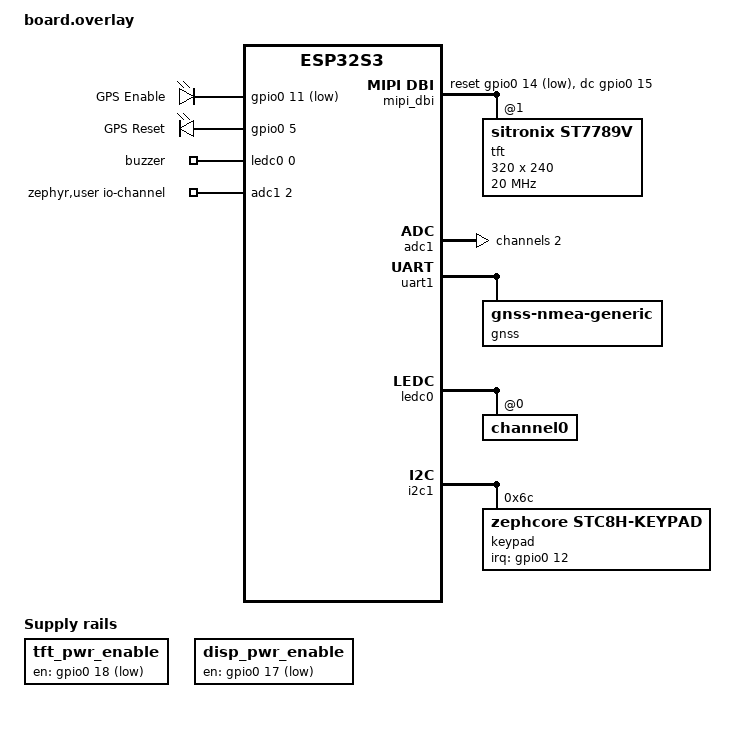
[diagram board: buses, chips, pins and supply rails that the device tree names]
/*
 * SPDX-License-Identifier: MIT
 * Elecrow ThinkNode M9 — ZephCore overlay
 *
 * Adds the display stack, GPS driver, buzzer, battery ADC, RTC and
 * filesystem on top of the base board DTS (which already carries the
 * LR1110 radio — kept there so tools/lr1110_updater works without this
 * overlay). Pin mapping from Arduino MeshCore variants/thinknode_m9.
 *
 * Display SPI2: CS=16 (cs-gpios[1]), DC=15, RST=14, BL=17 (active-LOW)
 * Panel power:  VEXT=18 (active-LOW)
 * GPS UART1:    RX=2, TX=3 @ 115200; EN=11 (active-LOW), RESET=5
 * Buzzer:       GPIO9 (LEDC ch0)
 * Battery ADC:  GPIO13 = ADC unit 2 ch 2 (&adc1), 2:1 divider (matches
 *               MeshCore ESP32Board's hardcoded 2x)
 *
 * Not ported (unused by Arduino MeshCore): STC8H I2C keyboard @0x6C (bus
 * SDA=20 SCL=21, INT=12, LED=46), SD card (CS=48 — parked HIGH by a hog in
 * the base DTS), ext-power detect GPIO1 (active-LOW) + charge-DONE GPIO8,
 * GPS PPS (4), GPS STANDBY (10), QMI8658 IMU + QMC6309 magnetometer on the
 * sensor bus.
 */

#include <zephyr/dt-bindings/pwm/pwm.h>

/ {
	aliases {
		pwm-0 = &ledc0;
		buzzer = &buzzer;
		gps-enable = &gps_enable_pin;
		gps-reset = &gps_reset_pin;
	};

	chosen {
		zephyr,display = &mono_tft;
	};

	/*
	 * VDD_PERIPH rail — GPIO18 (VEXT_ENABLE), active-LOW.
	 * The V1.0 schematic shows this is NOT display-only: VDD_PERIPH_EN
	 * gates a rail feeding the panel (DISPLAY_VDD), the RTC's main supply
	 * (button cell only backs up timekeeping) and the I2C sensors —
	 * `regulator-boot-on` powers it at driver init, before the RTC
	 * autodiscover and sensor scan run, matching Arduino's unconditional
	 * board.begin() write. display.c still treats it as the panel supply
	 * (never disables it); the label stays tft_pwr_enable for that hookup.
	 */
	tft_pwr_enable: tft-pwr-enable {
		compatible = "regulator-fixed";
		regulator-name = "tft-pwr-enable";
		enable-gpios = <&gpio0 18 GPIO_ACTIVE_LOW>;
		regulator-boot-on;
	};

	/*
	 * TFT backlight — GPIO17 (TFT_LEDA_CTL), active-LOW.
	 * Named disp_pwr_enable so display.c auto-gates it with display on/off.
	 * (Arduino dims it with 44 kHz PWM; fixed on/off is the first pass.)
	 */
	disp_pwr_enable: disp-pwr-enable {
		compatible = "regulator-fixed";
		regulator-name = "disp-pwr-enable";
		enable-gpios = <&gpio0 17 GPIO_ACTIVE_LOW>;
	};

	/*
	 * Monochrome wrapper around the ST7789.
	 * Reports PIXEL_FORMAT_MONO01 to CFB (~9.6 KB framebuffer instead of
	 * ~150 KB RGB565) and converts each row on flush.
	 */
	mono_tft: mono-tft {
		compatible = "zephcore,mono-tft";
		tft-dev = <&tft>;
		width = <320>;
		height = <240>;
	};

	/*
	 * MIPI-DBI SPI wrapper for the ST7789 — rides the shared SPI2 bus.
	 * The child's reg (1) picks cs-gpios[1] (GPIO16) declared in the base DTS.
	 * DC=GPIO15, RST=GPIO14 (active-LOW). Write-only (MISO belongs to LR1110).
	 */
	mipi_dbi {
		compatible = "zephyr,mipi-dbi-spi";
		spi-dev = <&spi2>;
		dc-gpios = <&gpio0 15 GPIO_ACTIVE_HIGH>;
		reset-gpios = <&gpio0 14 GPIO_ACTIVE_LOW>;
		write-only;
		#address-cells = <1>;
		#size-cells = <0>;

		tft: st7789v@1 {
			compatible = "sitronix,st7789v";
			mipi-max-frequency = <20000000>;
			reg = <1>;
			width = <320>;
			height = <240>;
			x-offset = <0>;
			y-offset = <0>;
			/* MADCTL=0xA0: MY|MV, RGB order (landscape 320x240 on the
			 * native-portrait 240x320 panel). This is what Arduino ends
			 * up with: landscapeScreen() sets 0x60 (MX|MV), then
			 * DISPLAY_FLIP_VERTICALLY=1 calls flipScreenVertically()
			 * which overwrites MADCTL with MV|MY = 0xA0 (ST7789Spi.h).
			 * If mirrored/upside-down at bring-up, try 0x60.
			 * Panel inversion (INVON): Arduino sends it, and the Zephyr
			 * st7789v driver defaults to inversion ON (no `inversion-off`
			 * prop here) — matched. */
			mdac = <0xA0>;
			colmod = <0x55>;
			vcom = <0x20>;
			gctrl = <0x35>;
			vrhs = <0x0b>;
			vdvs = <0x20>;
			gamma = <0x01>;
			lcm = <0x2c>;
			porch-param = [0c 0c 00 33 33];
			cmd2en-param = [5a 69 02 01];
			pwctrl1-param = [a4 a1];
			pvgam-param = [70 2c 2e 15 10 09 48 33 53 0b 19 18 20 25];
			nvgam-param = [70 2c 2e 15 10 09 48 33 53 0b 19 18 20 25];
			ram-param = [00 f0];
			rgb-param = [40 02 14];
			mipi-mode = "MIPI_DBI_MODE_SPI_4WIRE";
		};
	};

	/* GPS power enable — GPIO11, active-LOW (PIN_GPS_EN_ACTIVE=LOW).
	 * ZephCore's GPS manager drives this via the gps-enable alias. */
	gps_en: gps-enable {
		compatible = "gpio-leds";
		gps_enable_pin: gps_enable {
			gpios = <&gpio0 11 GPIO_ACTIVE_LOW>;
			label = "GPS Enable";
		};
	};

	/* GPS reset — GPIO5, active-HIGH per Arduino (PIN_GPS_RESET_ACTIVE=HIGH). */
	gps_rst: gps-reset {
		compatible = "gpio-leds";
		gps_reset_pin: gps_reset {
			gpios = <&gpio0 5 GPIO_ACTIVE_HIGH>;
			label = "GPS Reset";
		};
	};

	/* Buzzer on LEDC channel 0 (GPIO9) */
	pwmbuzzer {
		compatible = "pwm-leds";
		buzzer: buzzer {
			pwms = <&ledc0 0 PWM_MSEC(20) PWM_POLARITY_NORMAL>;
		};
	};

	/* Battery ADC — ZephCore reads via zephyr,user { io-channels }.
	 * GPIO13 = ADC **unit 2** channel 2 → &adc1 (the DT label is 0-indexed,
	 * the unit is 1-indexed — same trap as heltec_wireless_tracker).
	 * ADC_GAIN_1_4 = 12 dB attenuation ≈ 0–3.1 V usable; nominal full scale
	 * 1100 mV × 4 = 4400 mV. Divider ratio unverified — assumed 2:1
	 * (multiplier 4400 × 2.0 = 8800). Calibrate at bring-up.
	 * Caveat: ADC unit 2 is shared with WiFi — battery reads can fail while
	 * WiFi is active (wifi_ota builds). */
	zephyr,user {
		io-channels = <&adc1 2>;
		vbat-mv-multiplier = <8800>;
	};
};

/* Battery ADC channel configuration (ADC unit 2 → GPIO13). */
&adc1 {
	status = "okay";
	#address-cells = <1>;
	#size-cells = <0>;

	channel@2 {
		reg = <2>;
		zephyr,gain = "ADC_GAIN_1_4";
		zephyr,reference = "ADC_REF_INTERNAL";
		zephyr,acquisition-time = <ADC_ACQ_TIME_DEFAULT>;
		zephyr,resolution = <12>;
	};
};

/* GPS on UART1 — generic NMEA driver (no vendor commands).
 * The module is NOT the L76K that MeshCore's variant.h claims — it
 * identifies as "CC1167Q" to the Unicore-family $PDTINFO probe, which also
 * explains the 115200 default baud (a CASIC L76K would be 9600). Under
 * module-identity uncertainty gnss-nmea-generic is the safe choice —
 * CASIC-specific driver init would be wrong here, and plain NMEA works
 * either way. Power is gated by the manager via gps-enable/gps-reset.
 * GPS_STANDBY (GPIO10) is deliberately left untouched — Arduino MeshCore
 * never drives it either. */
&uart1 {
	gnss: gnss-nmea-generic {
		compatible = "gnss-nmea-generic";
	};
};

/* LEDC PWM controller — buzzer timer/channel */
&ledc0 {
	pinctrl-0 = <&ledc0_default>;
	pinctrl-names = "default";
	status = "okay";
	#address-cells = <1>;
	#size-cells = <0>;

	channel0@0 {
		reg = <0x0>;
		timer = <0>;
	};
};

/*
 * STC8H keypad helper MCU — this board's only input device (no user button
 * exists at hardware level). KB_INT on GPIO12 is idle-low and pulses high on
 * a keypress; the driver also polls as a safety net.
 */
&i2c1 {
	keypad: keypad@6c {
		compatible = "zephcore,stc8h-keypad";
		reg = <0x6c>;
		irq-gpios = <&gpio0 12 GPIO_ACTIVE_HIGH>;
		poll-interval-ms = <40>;
	};
};

&i2c0 {
	#include "../../common/sensors-i2c.dtsi"
	/* ThinkNode M9 has a battery-backed PCF8563 @ 0x51 — opt in to boot-time
	 * time restore (auto-detected at runtime among the supported chips). */
	#include "../../common/rtc-i2c.dtsi"
};

/*
 * Flash partitions live in partitions.overlay (this dir) so the identical map
 * is fed to both the app and the MCUboot image — see that file and
 * sysbuild/CMakeLists.txt.
 */

/* LittleFS auto-mount — standard /lfs mount point */
#include "../../common/filesystem.dtsi"

/* Console + shell on uart0 — the USB-C port is a CH9102-class UART bridge
 * into UART0 (GPIO43/44), verified on hardware. No USB OTG transport on this
 * board: the S3's native D+/D- pads (GPIO19/20) are not bonded to the
 * connector, and GPIO20/21 carry the STC8H keypad I2C bus — enabling the OTG
 * or USB Serial/JTAG PHY would claim the keypad's SDA pin. BLE is the
 * companion transport. */
#include "../../common/esp32s3_console_uart0.dtsi"
